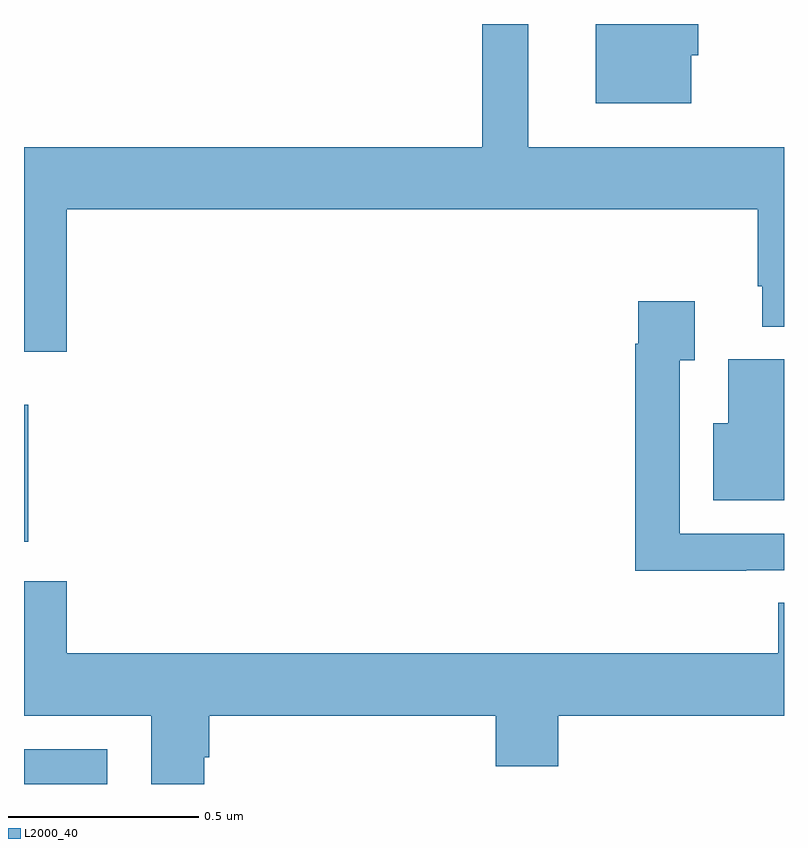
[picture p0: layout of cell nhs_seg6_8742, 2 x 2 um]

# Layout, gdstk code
import gdstk
lib = gdstk.Library(unit=1e-6, precision=1e-09)
def R(c, l, rs):  # rectangles x0, y0, x1, y1
    for r in rs: c.add(gdstk.rectangle(r[:2], r[2:], *l))
def P(c, l, *ps):  # polygons
    for p in ps: c.add(gdstk.Polygon(p, *l))
L2000_40 = (2000, 40)

nhs_seg6_8742 = lib.new_cell('nhs_seg6_8742')
R(nhs_seg6_8742, L2000_40, [(225,936.5,225.219,936.591), (225,937.137,225.011,937.498)])
P(nhs_seg6_8742, L2000_40, [(225.112,938.012),(226.931,938.012),(226.931,937.81),(226.943,937.81),(226.943,937.703),(227,937.703),(227,938.176),(226.327,938.176),(226.327,938.5),(226.206,938.5),(226.206,938.176),(225,938.176),(225,937.638),(225.112,937.638)],
  [(226.756,938.418),(226.774,938.418),(226.774,938.5),(226.505,938.5),(226.505,938.291),(226.756,938.291)],
  [(226.901,937.062),(227,937.062),(227,937.158),(226.725,937.158),(226.725,937.615),(226.765,937.615),(226.765,937.771),(226.617,937.771),(226.617,937.658),(226.609,937.658),(226.609,937.061),(226.901,937.061)],
  [(227,937.618),(226.853,937.618),(226.853,937.45),(226.814,937.45),(226.814,937.247),(227,937.247)],
  [(225.474,936.571),(225.488,936.571),(225.488,936.68),(226.241,936.68),(226.241,936.547),(226.406,936.547),(226.406,936.68),(227,936.68),(227,936.977),(226.985,936.977),(226.985,936.844),(225.112,936.844),(225.112,937.033),(225,937.033),(225,936.68),(225.335,936.68),(225.335,936.5),(225.474,936.5)])

lib.write_gds('nhs_seg6_8742.gds')
